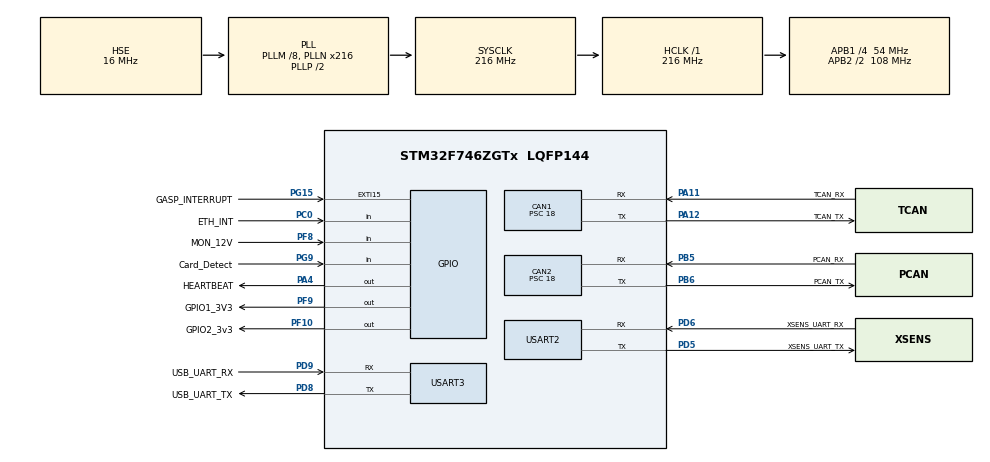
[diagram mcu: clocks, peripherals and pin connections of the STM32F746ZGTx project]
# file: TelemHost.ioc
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CAN1.BS1=CAN_BS1_2TQ
CAN1.BS2=CAN_BS2_3TQ
CAN1.CalculateBaudRate=499999
CAN1.CalculateTimeBit=2000
CAN1.CalculateTimeQuantum=333.33333333333337
CAN1.Prescaler=18
CAN2.BS1=CAN_BS1_2TQ
CAN2.BS2=CAN_BS2_3TQ
CAN2.CalculateBaudRate=499999
CAN2.CalculateTimeBit=2000
CAN2.CalculateTimeQuantum=333.33333333333337
CAN2.Prescaler=18
CORTEX_M7.ART_ACCELERATOR_ENABLE=0
CORTEX_M7.AccessPermission-Cortex_Memory_Protection_Unit_Region0_Settings=MPU_REGION_NO_ACCESS
CORTEX_M7.AccessPermission-Cortex_Memory_Protection_Unit_Region1_Settings=MPU_REGION_FULL_ACCESS
CORTEX_M7.BaseAddress-Cortex_Memory_Protection_Unit_Region0_Settings=0x90000000
CORTEX_M7.BaseAddress-Cortex_Memory_Protection_Unit_Region1_Settings=0x90000000
CORTEX_M7.BaseAddress-Cortex_Memory_Protection_Unit_Region2_Settings=0x90000000
CORTEX_M7.CPU_DCache=Enabled
CORTEX_M7.CPU_ICache=Enabled
CORTEX_M7.DisableExec-Cortex_Memory_Protection_Unit_Region0_Settings=MPU_INSTRUCTION_ACCESS_DISABLE
CORTEX_M7.DisableExec-Cortex_Memory_Protection_Unit_Region1_Settings=MPU_INSTRUCTION_ACCESS_DISABLE
CORTEX_M7.Enable-Cortex_Memory_Protection_Unit_Region0_Settings=MPU_REGION_ENABLE
CORTEX_M7.Enable-Cortex_Memory_Protection_Unit_Region1_Settings=MPU_REGION_ENABLE
CORTEX_M7.Enable-Cortex_Memory_Protection_Unit_Region2_Settings=MPU_REGION_ENABLE
CORTEX_M7.Enable-Cortex_Memory_Protection_Unit_Region3_Settings=__NULL
CORTEX_M7.IsBufferable-Cortex_Memory_Protection_Unit_Region1_Settings=MPU_ACCESS_BUFFERABLE
CORTEX_M7.IsBufferable-Cortex_Memory_Protection_Unit_Region2_Settings=MPU_ACCESS_BUFFERABLE
CORTEX_M7.IsCacheable-Cortex_Memory_Protection_Unit_Region1_Settings=MPU_ACCESS_CACHEABLE
CORTEX_M7.IsCacheable-Cortex_Memory_Protection_Unit_Region2_Settings=MPU_ACCESS_CACHEABLE
CORTEX_M7.IsShareable-Cortex_Memory_Protection_Unit_Region0_Settings=MPU_ACCESS_NOT_SHAREABLE
CORTEX_M7.MPU_Control=MPU_PRIVILEGED_DEFAULT
CORTEX_M7.PREFETCH_ENABLE=1
CORTEX_M7.Size-Cortex_Memory_Protection_Unit_Region0_Settings=MPU_REGION_SIZE_512MB
CORTEX_M7.Size-Cortex_Memory_Protection_Unit_Region1_Settings=MPU_REGION_SIZE_16MB
CORTEX_M7.Size-Cortex_Memory_Protection_Unit_Region2_Settings=MPU_REGION_SIZE_1MB
CORTEX_M7.SubRegionDisable-Cortex_Memory_Protection_Unit_Region0_Settings=0x0
CORTEX_M7.TypeExtField-Cortex_Memory_Protection_Unit_Region0_Settings=MPU_TEX_LEVEL0
Dma.Request0=USART2_RX
Dma.USART2_RX.0.Direction=DMA_PERIPH_TO_MEMORY
Dma.USART2_RX.0.FIFOMode=DMA_FIFOMODE_DISABLE
Dma.USART2_RX.0.Instance=DMA1_Stream5
Dma.USART2_RX.0.MemDataAlignment=DMA_MDATAALIGN_BYTE
Dma.USART2_RX.0.MemInc=DMA_MINC_ENABLE
Dma.USART2_RX.0.Mode=DMA_CIRCULAR
Dma.USART2_RX.0.PeriphDataAlignment=DMA_PDATAALIGN_BYTE
Dma.USART2_RX.0.PeriphInc=DMA_PINC_DISABLE
Dma.USART2_RX.0.Priority=DMA_PRIORITY_MEDIUM
Mcu.Family=STM32F7
Mcu.Name=STM32F746ZGTx
Mcu.Package=LQFP144
NVIC.DMA1_Stream5_IRQn=true\:0\:0\:false\:false\:true\:false\:true\:true
NVIC.EXTI15_10_IRQn=true\:0\:0\:false\:false\:true\:true\:true\:true
NVIC.PriorityGroup=NVIC_PRIORITYGROUP_4
NVIC.TIM6_DAC_IRQn=true\:15\:0\:false\:false\:true\:false\:true\:true
NVIC.TIM7_IRQn=true\:0\:0\:false\:false\:true\:true\:true\:true
NVIC.TimeBase=TIM6_DAC_IRQn
NVIC.TimeBaseIP=TIM6
PA11.GPIO_Label=TCAN_RX
PA11.Mode=CAN_Activate
PA11.Signal=CAN1_RX
PA12.GPIO_Label=TCAN_TX
PA12.Mode=CAN_Activate
PA12.Signal=CAN1_TX
PA13.Mode=Serial_Wire
PA13.Signal=SYS_JTMS-SWDIO
PA14.Mode=Serial_Wire
PA14.Signal=SYS_JTCK-SWCLK
PA15.Signal=SYS_JTDI
PA4.GPIO_Label=HEARTBEAT
PA4.Signal=GPIO_Output
PB3.Signal=SYS_JTDO-SWO
PB5.GPIO_Label=PCAN_RX
PB5.Mode=CAN_Activate
PB5.Signal=CAN2_RX
PB6.GPIO_Label=PCAN_TX
PB6.Mode=CAN_Activate
PB6.Signal=CAN2_TX
PC0.GPIO_Label=ETH_INT
PC0.Signal=GPIO_Input
PD5.GPIO_Label=XSENS_UART_TX
PD5.Mode=Asynchronous
PD5.Signal=USART2_TX
PD6.GPIO_Label=XSENS_UART_RX
PD6.Mode=Asynchronous
PD6.Signal=USART2_RX
PD8.GPIO_Label=USB_UART_TX
PD8.Mode=Asynchronous
PD8.Signal=USART3_TX
PD9.GPIO_Label=USB_UART_RX
PD9.Mode=Asynchronous
PD9.Signal=USART3_RX
PF10.GPIO_Label=GPIO2_3v3
PF10.Signal=GPIO_Output
PF8.GPIO_Label=MON_12V
PF8.Signal=GPIO_Input
PF9.GPIO_Label=GPIO1_3V3
PF9.Signal=GPIO_Output
PG15.GPIO_Label=GASP_INTERRUPT
PG15.Signal=GPXTI15
PG9.GPIO_Label=Card_Detect
PG9.Signal=GPIO_Input
PH0/OSC_IN.Mode=HSE-External-Oscillator
PH0/OSC_IN.Signal=RCC_OSC_IN
PH1/OSC_OUT.Mode=HSE-External-Oscillator
PH1/OSC_OUT.Signal=RCC_OSC_OUT
ProjectManager.HeapSize=0x200
ProjectManager.StackSize=0x400
ProjectManager.TargetToolchain=STM32CubeIDE
RCC.AHBFreq_Value=216000000
RCC.APB1CLKDivider=RCC_HCLK_DIV4
RCC.APB1Freq_Value=54000000
RCC.APB1TimFreq_Value=108000000
RCC.APB2CLKDivider=RCC_HCLK_DIV2
RCC.APB2Freq_Value=108000000
RCC.APB2TimFreq_Value=216000000
RCC.CortexFreq_Value=216000000
RCC.HCLKFreq_Value=216000000
RCC.HSE_VALUE=16000000
RCC.HSI_VALUE=16000000
RCC.LSE_VALUE=32768
RCC.PLLM=8
RCC.PLLN=216
RCC.PLLQ=9
RCC.PLLSourceVirtual=RCC_PLLSOURCE_HSE
RCC.SDMMCClockSelection=RCC_SDMMC1CLKSOURCE_CLK48
RCC.SYSCLKFreq_VALUE=216000000
RCC.SYSCLKSource=RCC_SYSCLKSOURCE_PLLCLK
RCC.USBFreq_Value=48000000
RCC.VCOOutputFreq_Value=432000000
TIM7.Period=5000
TIM7.Prescaler=8000
USART2.VirtualMode-Asynchronous=VM_ASYNC
USART3.SwapParam=ADVFEATURE_SWAP_DISABLE
USART3.VirtualMode-Asynchronous=VM_ASYNC
VP_SYS_VS_tim6.Mode=TIM6
VP_TIM1_VS_ClockSourceINT.Mode=Internal
VP_TIM4_VS_ClockSourceITR.Mode=TriggerSource_ITR0
VP_TIM7_VS_ClockSourceINT.Mode=Enable_Timer
board=custom
wolfSSL.I-CUBE-wolfMQTT.1.19.0.WOLFMQTT_CONF_FREERTOS=1
wolfSSL.I-CUBE-wolfMQTT.1.19.0.WOLFMQTT_CONF_IO=2

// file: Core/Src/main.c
/* USER CODE BEGIN Header */
/**
  ******************************************************************************
  * @file           : main.c
  * @brief          : Main program body
  ******************************************************************************
  * @attention
  *
  * Copyright (c) 2024 STMicroelectronics.
  * All rights reserved.
  *
  * This software is licensed under terms that can be found in the LICENSE file
  * in the root directory of this software component.
  * If no LICENSE file comes with this software, it is provided AS-IS.
  *
  ******************************************************************************
  */
/* USER CODE END Header */
#include "main.h"

/* USER CODE BEGIN Includes */
#include "stdio.h"
#include "inttypes.h"
#include "can_manager.h"
#include "sensors.h"
#include "fsm.h"
#include "telem.h"
#include "xsens.h"
#include "serial_print.h"
#include "config.h"

//#include "mqtt_conn.h"
//
//#include <wolfmqtt/mqtt_client.h>

/* USER CODE END Includes */

CAN_HandleTypeDef hcan1;
CAN_HandleTypeDef hcan2;

TIM_HandleTypeDef htim1;
TIM_HandleTypeDef htim4;
TIM_HandleTypeDef htim7;

UART_HandleTypeDef huart2;
UART_HandleTypeDef huart3;
DMA_HandleTypeDef hdma_usart2_rx;

/* USER CODE BEGIN PV */

// Keeps track of timer waiting for pre-charging
volatile unsigned int precharge_timer_ms = 0;
volatile uint8_t init_fault_cleared = 0;
extern uint32_t torque_req;

/* USER CODE END PV */

void SystemClock_Config(void);
static void MPU_Config(void);
static void MX_GPIO_Init(void);
static void MX_DMA_Init(void);
static void MX_CAN2_Init(void);
static void MX_TIM4_Init(void);
static void MX_CAN1_Init(void);
static void MX_USART3_UART_Init(void);
static void MX_TIM7_Init(void);
static void MX_TIM1_Init(void);
static void MX_USART2_UART_Init(void);

/* USER CODE BEGIN 0 */

uint8_t shutdown_closed() {
    if (estop_flags) return 0;
    return (shutdown_flags & 0b00111000) == 0b00111000;
}

void HAL_GPIO_EXTI_Callback(uint16_t GPIO_Pin) {
	if (GPIO_Pin == GASP_INTERRUPT_Pin) {
//		sd_card_close_file();
	}
}

uint16_t sg_adc;

unsigned int discrepancy_timer_ms = 0;

// TEST END

/* USER CODE END 0 */

int main(void)
{

  /* MPU Configuration--------------------------------------------------------*/
  MPU_Config();

  /* Enable the CPU Cache */

  /* Enable I-Cache---------------------------------------------------------*/
  SCB_EnableICache();

  /* Enable D-Cache---------------------------------------------------------*/
  SCB_EnableDCache();

  /* MCU Configuration--------------------------------------------------------*/

  /* Reset of all peripherals, Initializes the Flash interface and the Systick. */
  HAL_Init();

  /* Configure the system clock */
  SystemClock_Config();

  /* Initialize all configured peripherals */
  MX_GPIO_Init();
  MX_DMA_Init();
  MX_CAN2_Init();
  MX_TIM4_Init();
  MX_CAN1_Init();
  MX_USART3_UART_Init();
  MX_TIM7_Init();
  MX_TIM1_Init();
  MX_USART2_UART_Init();
  /* USER CODE BEGIN 2 */

//  mount_sd_card();

  /* USER CODE END 2 */

  /* Infinite loop */
  /* USER CODE BEGIN WHILE */
  while (1)
  {
	  Xsens_Update(&huart2);
    /* USER CODE END WHILE */

  }
}

void SystemClock_Config(void)
{
  RCC_OscInitTypeDef RCC_OscInitStruct = {0};
  RCC_ClkInitTypeDef RCC_ClkInitStruct = {0};

  /** Configure the main internal regulator output voltage
  */
  __HAL_RCC_PWR_CLK_ENABLE();
  __HAL_PWR_VOLTAGESCALING_CONFIG(PWR_REGULATOR_VOLTAGE_SCALE1);

  /** Initializes the RCC Oscillators according to the specified parameters
  * in the RCC_OscInitTypeDef structure.
  */
  RCC_OscInitStruct.OscillatorType = RCC_OSCILLATORTYPE_HSE;
  RCC_OscInitStruct.HSEState = RCC_HSE_ON;
  RCC_OscInitStruct.PLL.PLLState = RCC_PLL_ON;
  RCC_OscInitStruct.PLL.PLLSource = RCC_PLLSOURCE_HSE;
  RCC_OscInitStruct.PLL.PLLM = 8;
  RCC_OscInitStruct.PLL.PLLN = 216;
  RCC_OscInitStruct.PLL.PLLP = RCC_PLLP_DIV2;
  RCC_OscInitStruct.PLL.PLLQ = 9;
  if (HAL_RCC_OscConfig(&RCC_OscInitStruct) != HAL_OK)
  {
    Error_Handler();
  }

  /** Activate the Over-Drive mode
  */
  if (HAL_PWREx_EnableOverDrive() != HAL_OK)
  {
    Error_Handler();
  }

  /** Initializes the CPU, AHB and APB buses clocks
  */
  RCC_ClkInitStruct.ClockType = RCC_CLOCKTYPE_HCLK|RCC_CLOCKTYPE_SYSCLK
                              |RCC_CLOCKTYPE_PCLK1|RCC_CLOCKTYPE_PCLK2;
  RCC_ClkInitStruct.SYSCLKSource = RCC_SYSCLKSOURCE_PLLCLK;
  RCC_ClkInitStruct.AHBCLKDivider = RCC_SYSCLK_DIV1;
  RCC_ClkInitStruct.APB1CLKDivider = RCC_HCLK_DIV4;
  RCC_ClkInitStruct.APB2CLKDivider = RCC_HCLK_DIV2;

  if (HAL_RCC_ClockConfig(&RCC_ClkInitStruct, FLASH_LATENCY_7) != HAL_OK)
  {
    Error_Handler();
  }
}

static void MX_CAN1_Init(void)
{

  hcan1.Instance = CAN1;
  hcan1.Init.Prescaler = 18;
  hcan1.Init.Mode = CAN_MODE_NORMAL;
  hcan1.Init.SyncJumpWidth = CAN_SJW_1TQ;
  hcan1.Init.TimeSeg1 = CAN_BS1_2TQ;
  hcan1.Init.TimeSeg2 = CAN_BS2_3TQ;
  hcan1.Init.TimeTriggeredMode = DISABLE;
  hcan1.Init.AutoBusOff = DISABLE;
  hcan1.Init.AutoWakeUp = DISABLE;
  hcan1.Init.AutoRetransmission = DISABLE;
  hcan1.Init.ReceiveFifoLocked = DISABLE;
  hcan1.Init.TransmitFifoPriority = DISABLE;
  if (HAL_CAN_Init(&hcan1) != HAL_OK)
  {
    Error_Handler();
  }
  /* USER CODE BEGIN CAN1_Init 2 */

  /*##-2- Configure the CAN Filter ###########################################*/
    CAN_FilterTypeDef canfilterconfig;

    canfilterconfig.FilterActivation = CAN_FILTER_ENABLE;
    canfilterconfig.FilterBank = 18;  // which filter bank to use from the assigned ones
    canfilterconfig.FilterFIFOAssignment = CAN_FILTER_FIFO0;
    canfilterconfig.FilterIdHigh = 0x0;
    canfilterconfig.FilterIdLow = 0x0;
    canfilterconfig.FilterMaskIdHigh = 0x0;
    canfilterconfig.FilterMaskIdLow = 0x0000;
    canfilterconfig.FilterMode = CAN_FILTERMODE_IDMASK;
    canfilterconfig.FilterScale = CAN_FILTERSCALE_32BIT;
    canfilterconfig.SlaveStartFilterBank = 20;  // how many filters to assign to the CAN1 (master can)

  	if (HAL_CAN_ConfigFilter(&hcan1, &canfilterconfig) != HAL_OK)
  	{
  	  /* Filter configuration Error */
  	  Error_Handler();
  	}

  	/*##-3- Start the CAN peripheral ###########################################*/
  	if (HAL_CAN_Start(&hcan1) != HAL_OK)
  	{
  	  /* Start Error */
  	  Error_Handler();
  	}

  	/*##-4- Activate CAN RX notification #######################################*/
  	if (HAL_CAN_ActivateNotification(&hcan1, CAN_IT_RX_FIFO0_MSG_PENDING) != HAL_OK)
  	{
  	  /* Notification Error */
  	  Error_Handler();
  	}

  /* USER CODE END CAN1_Init 2 */

}

static void MX_CAN2_Init(void)
{

  hcan2.Instance = CAN2;
  hcan2.Init.Prescaler = 18;
  hcan2.Init.Mode = CAN_MODE_NORMAL;
  hcan2.Init.SyncJumpWidth = CAN_SJW_1TQ;
  hcan2.Init.TimeSeg1 = CAN_BS1_2TQ;
  hcan2.Init.TimeSeg2 = CAN_BS2_3TQ;
  hcan2.Init.TimeTriggeredMode = DISABLE;
  hcan2.Init.AutoBusOff = DISABLE;
  hcan2.Init.AutoWakeUp = DISABLE;
  hcan2.Init.AutoRetransmission = DISABLE;
  hcan2.Init.ReceiveFifoLocked = DISABLE;
  hcan2.Init.TransmitFifoPriority = DISABLE;
  if (HAL_CAN_Init(&hcan2) != HAL_OK)
  {
    Error_Handler();
  }
  /* USER CODE BEGIN CAN2_Init 2 */

  if (HAL_CAN_Start(&hcan2) != HAL_OK) {
	  Error_Handler();
  }

  /* USER CODE END CAN2_Init 2 */

}

static void MX_TIM1_Init(void)
{

  TIM_ClockConfigTypeDef sClockSourceConfig = {0};
  TIM_MasterConfigTypeDef sMasterConfig = {0};

  htim1.Instance = TIM1;
  htim1.Init.Prescaler = 0;
  htim1.Init.CounterMode = TIM_COUNTERMODE_UP;
  htim1.Init.Period = 65535;
  htim1.Init.ClockDivision = TIM_CLOCKDIVISION_DIV1;
  htim1.Init.RepetitionCounter = 0;
  htim1.Init.AutoReloadPreload = TIM_AUTORELOAD_PRELOAD_DISABLE;
  if (HAL_TIM_Base_Init(&htim1) != HAL_OK)
  {
    Error_Handler();
  }
  sClockSourceConfig.ClockSource = TIM_CLOCKSOURCE_INTERNAL;
  if (HAL_TIM_ConfigClockSource(&htim1, &sClockSourceConfig) != HAL_OK)
  {
    Error_Handler();
  }
  sMasterConfig.MasterOutputTrigger = TIM_TRGO_RESET;
  sMasterConfig.MasterOutputTrigger2 = TIM_TRGO2_RESET;
  sMasterConfig.MasterSlaveMode = TIM_MASTERSLAVEMODE_DISABLE;
  if (HAL_TIMEx_MasterConfigSynchronization(&htim1, &sMasterConfig) != HAL_OK)
  {
    Error_Handler();
  }

}

static void MX_TIM4_Init(void)
{

  TIM_SlaveConfigTypeDef sSlaveConfig = {0};
  TIM_MasterConfigTypeDef sMasterConfig = {0};

  htim4.Instance = TIM4;
  htim4.Init.Prescaler = 0;
  htim4.Init.CounterMode = TIM_COUNTERMODE_UP;
  htim4.Init.Period = 65535;
  htim4.Init.ClockDivision = TIM_CLOCKDIVISION_DIV1;
  htim4.Init.AutoReloadPreload = TIM_AUTORELOAD_PRELOAD_DISABLE;
  if (HAL_TIM_Base_Init(&htim4) != HAL_OK)
  {
    Error_Handler();
  }
  sSlaveConfig.SlaveMode = TIM_SLAVEMODE_DISABLE;
  sSlaveConfig.InputTrigger = TIM_TS_ITR0;
  if (HAL_TIM_SlaveConfigSynchro(&htim4, &sSlaveConfig) != HAL_OK)
  {
    Error_Handler();
  }
  sMasterConfig.MasterOutputTrigger = TIM_TRGO_RESET;
  sMasterConfig.MasterSlaveMode = TIM_MASTERSLAVEMODE_DISABLE;
  if (HAL_TIMEx_MasterConfigSynchronization(&htim4, &sMasterConfig) != HAL_OK)
  {
    Error_Handler();
  }

}

static void MX_TIM7_Init(void)
{

  TIM_MasterConfigTypeDef sMasterConfig = {0};

  htim7.Instance = TIM7;
  htim7.Init.Prescaler = 8000;
  htim7.Init.CounterMode = TIM_COUNTERMODE_UP;
  htim7.Init.Period = 5000;
  htim7.Init.AutoReloadPreload = TIM_AUTORELOAD_PRELOAD_DISABLE;
  if (HAL_TIM_Base_Init(&htim7) != HAL_OK)
  {
    Error_Handler();
  }
  sMasterConfig.MasterOutputTrigger = TIM_TRGO_RESET;
  sMasterConfig.MasterSlaveMode = TIM_MASTERSLAVEMODE_DISABLE;
  if (HAL_TIMEx_MasterConfigSynchronization(&htim7, &sMasterConfig) != HAL_OK)
  {
    Error_Handler();
  }
  /* USER CODE BEGIN TIM7_Init 2 */
  NVIC_EnableIRQ(TIM7_IRQn);

  /* USER CODE END TIM7_Init 2 */

}

static void MX_USART2_UART_Init(void)
{

  huart2.Instance = USART2;
  huart2.Init.BaudRate = 115200;
  huart2.Init.WordLength = UART_WORDLENGTH_8B;
  huart2.Init.StopBits = UART_STOPBITS_1;
  huart2.Init.Parity = UART_PARITY_NONE;
  huart2.Init.Mode = UART_MODE_TX_RX;
  huart2.Init.HwFlowCtl = UART_HWCONTROL_NONE;
  huart2.Init.OverSampling = UART_OVERSAMPLING_16;
  huart2.Init.OneBitSampling = UART_ONE_BIT_SAMPLE_DISABLE;
  huart2.AdvancedInit.AdvFeatureInit = UART_ADVFEATURE_NO_INIT;
  if (HAL_UART_Init(&huart2) != HAL_OK)
  {
    Error_Handler();
  }

}

static void MX_USART3_UART_Init(void)
{

  huart3.Instance = USART3;
  huart3.Init.BaudRate = 115200;
  huart3.Init.WordLength = UART_WORDLENGTH_8B;
  huart3.Init.StopBits = UART_STOPBITS_1;
  huart3.Init.Parity = UART_PARITY_NONE;
  huart3.Init.Mode = UART_MODE_TX_RX;
  huart3.Init.HwFlowCtl = UART_HWCONTROL_NONE;
  huart3.Init.OverSampling = UART_OVERSAMPLING_16;
  huart3.Init.OneBitSampling = UART_ONE_BIT_SAMPLE_DISABLE;
  huart3.AdvancedInit.AdvFeatureInit = UART_ADVFEATURE_NO_INIT;
  if (HAL_UART_Init(&huart3) != HAL_OK)
  {
    Error_Handler();
  }

}

static void MX_DMA_Init(void)
{

  /* DMA controller clock enable */
  __HAL_RCC_DMA1_CLK_ENABLE();

  /* DMA interrupt init */
  /* DMA1_Stream5_IRQn interrupt configuration */
  HAL_NVIC_SetPriority(DMA1_Stream5_IRQn, 0, 0);
  HAL_NVIC_EnableIRQ(DMA1_Stream5_IRQn);

}

static void MX_GPIO_Init(void)
{
  GPIO_InitTypeDef GPIO_InitStruct = {0};

  /* GPIO Ports Clock Enable */
  __HAL_RCC_GPIOF_CLK_ENABLE();
  __HAL_RCC_GPIOH_CLK_ENABLE();
  __HAL_RCC_GPIOC_CLK_ENABLE();
  __HAL_RCC_GPIOA_CLK_ENABLE();
  __HAL_RCC_GPIOD_CLK_ENABLE();
  __HAL_RCC_GPIOG_CLK_ENABLE();
  __HAL_RCC_GPIOB_CLK_ENABLE();

  /*Configure GPIO pin Output Level */
  HAL_GPIO_WritePin(GPIOF, GPIO1_3V3_Pin|GPIO2_3v3_Pin, GPIO_PIN_RESET);

  /*Configure GPIO pin Output Level */
  HAL_GPIO_WritePin(HEARTBEAT_GPIO_Port, HEARTBEAT_Pin, GPIO_PIN_RESET);

  /*Configure GPIO pin : MON_12V_Pin */
  GPIO_InitStruct.Pin = MON_12V_Pin;
  GPIO_InitStruct.Mode = GPIO_MODE_INPUT;
  GPIO_InitStruct.Pull = GPIO_NOPULL;
  HAL_GPIO_Init(MON_12V_GPIO_Port, &GPIO_InitStruct);

  /*Configure GPIO pins : GPIO1_3V3_Pin GPIO2_3v3_Pin */
  GPIO_InitStruct.Pin = GPIO1_3V3_Pin|GPIO2_3v3_Pin;
  GPIO_InitStruct.Mode = GPIO_MODE_OUTPUT_PP;
  GPIO_InitStruct.Pull = GPIO_NOPULL;
  GPIO_InitStruct.Speed = GPIO_SPEED_FREQ_LOW;
  HAL_GPIO_Init(GPIOF, &GPIO_InitStruct);

  /*Configure GPIO pin : ETH_INT_Pin */
  GPIO_InitStruct.Pin = ETH_INT_Pin;
  GPIO_InitStruct.Mode = GPIO_MODE_INPUT;
  GPIO_InitStruct.Pull = GPIO_NOPULL;
  HAL_GPIO_Init(ETH_INT_GPIO_Port, &GPIO_InitStruct);

  /*Configure GPIO pin : HEARTBEAT_Pin */
  GPIO_InitStruct.Pin = HEARTBEAT_Pin;
  GPIO_InitStruct.Mode = GPIO_MODE_OUTPUT_PP;
  GPIO_InitStruct.Pull = GPIO_NOPULL;
  GPIO_InitStruct.Speed = GPIO_SPEED_FREQ_LOW;
  HAL_GPIO_Init(HEARTBEAT_GPIO_Port, &GPIO_InitStruct);

  /*Configure GPIO pin : Card_Detect_Pin */
  GPIO_InitStruct.Pin = Card_Detect_Pin;
  GPIO_InitStruct.Mode = GPIO_MODE_INPUT;
  GPIO_InitStruct.Pull = GPIO_NOPULL;
  HAL_GPIO_Init(Card_Detect_GPIO_Port, &GPIO_InitStruct);

  /*Configure GPIO pin : GASP_INTERRUPT_Pin */
  GPIO_InitStruct.Pin = GASP_INTERRUPT_Pin;
  GPIO_InitStruct.Mode = GPIO_MODE_IT_RISING;
  GPIO_InitStruct.Pull = GPIO_NOPULL;
  HAL_GPIO_Init(GASP_INTERRUPT_GPIO_Port, &GPIO_InitStruct);

  /* EXTI interrupt init*/
  HAL_NVIC_SetPriority(EXTI15_10_IRQn, 0, 0);
  HAL_NVIC_EnableIRQ(EXTI15_10_IRQn);

}

 /* MPU Configuration */

void MPU_Config(void)
{
  MPU_Region_InitTypeDef MPU_InitStruct = {0};

  /* Disables the MPU */
  HAL_MPU_Disable();

  /** Initializes and configures the Region and the memory to be protected
  */
  MPU_InitStruct.Enable = MPU_REGION_ENABLE;
  MPU_InitStruct.Number = MPU_REGION_NUMBER0;
  MPU_InitStruct.BaseAddress = 0x90000000;
  MPU_InitStruct.Size = MPU_REGION_SIZE_512MB;
  MPU_InitStruct.SubRegionDisable = 0x0;
  MPU_InitStruct.TypeExtField = MPU_TEX_LEVEL0;
  MPU_InitStruct.AccessPermission = MPU_REGION_NO_ACCESS;
  MPU_InitStruct.DisableExec = MPU_INSTRUCTION_ACCESS_DISABLE;
  MPU_InitStruct.IsShareable = MPU_ACCESS_NOT_SHAREABLE;
  MPU_InitStruct.IsCacheable = MPU_ACCESS_NOT_CACHEABLE;
  MPU_InitStruct.IsBufferable = MPU_ACCESS_NOT_BUFFERABLE;

  HAL_MPU_ConfigRegion(&MPU_InitStruct);

  /** Initializes and configures the Region and the memory to be protected
  */
  MPU_InitStruct.Number = MPU_REGION_NUMBER1;
  MPU_InitStruct.Size = MPU_REGION_SIZE_16MB;
  MPU_InitStruct.AccessPermission = MPU_REGION_FULL_ACCESS;
  MPU_InitStruct.IsCacheable = MPU_ACCESS_CACHEABLE;
  MPU_InitStruct.IsBufferable = MPU_ACCESS_BUFFERABLE;

  HAL_MPU_ConfigRegion(&MPU_InitStruct);

  /** Initializes and configures the Region and the memory to be protected
  */
  MPU_InitStruct.Number = MPU_REGION_NUMBER2;
  MPU_InitStruct.Size = MPU_REGION_SIZE_1MB;
  MPU_InitStruct.AccessPermission = MPU_REGION_NO_ACCESS;
  MPU_InitStruct.DisableExec = MPU_INSTRUCTION_ACCESS_ENABLE;

  HAL_MPU_ConfigRegion(&MPU_InitStruct);
  /* Enables the MPU */
  HAL_MPU_Enable(MPU_PRIVILEGED_DEFAULT);

}

void HAL_TIM_PeriodElapsedCallback(TIM_HandleTypeDef *htim)
{
  /* USER CODE BEGIN Callback 0 */
	if (htim->Instance == TIM7) {

	}
  /* USER CODE END Callback 0 */
  if (htim->Instance == TIM6)
  {
    HAL_IncTick();
  }
}

void Error_Handler(void)
{
  __disable_irq();
  while (1)
  {
  }
}
